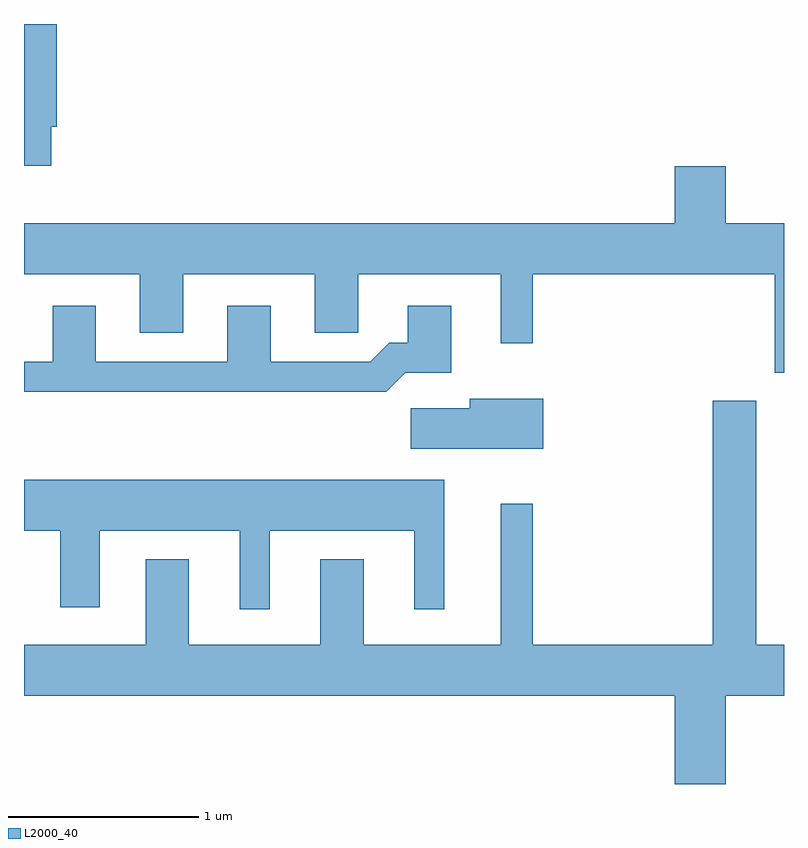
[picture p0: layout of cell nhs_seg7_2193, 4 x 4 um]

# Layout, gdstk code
import gdstk
lib = gdstk.Library(unit=1e-6, precision=1e-09)
def P(c, l, *ps):  # polygons
    for p in ps: c.add(gdstk.Polygon(p, *l))
L2000_40 = (2000, 40)

nhs_seg7_2193 = lib.new_cell('nhs_seg7_2193')
P(nhs_seg7_2193, L2000_40, [(251.754,1761.711),(251.784,1761.711),(251.784,1762.252),(251.611,1762.252),(251.611,1761.506),(251.754,1761.506)],
  [(255.611,1761.204),(255.304,1761.204),(255.304,1761.504),(255.036,1761.504),(255.036,1761.204),(251.611,1761.204),(251.611,1760.936),(252.221,1760.936),(252.221,1760.626),(252.449,1760.626),(252.449,1760.936),(253.141,1760.936),(253.141,1760.626),(253.369,1760.626),(253.369,1760.936),(254.121,1760.936),(254.121,1760.573),(254.289,1760.573),(254.289,1760.936),(255.561,1760.936),(255.561,1760.416),(255.611,1760.416)],
  [(253.617,1760.416),(253.859,1760.416),(253.859,1760.769),(253.631,1760.769),(253.631,1760.574),(253.534,1760.574),(253.434,1760.474),(252.909,1760.474),(252.909,1760.769),(252.681,1760.769),(252.681,1760.474),(251.989,1760.474),(251.989,1760.769),(251.761,1760.769),(251.761,1760.474),(251.611,1760.474),(251.611,1760.316),(253.517,1760.316)],
  [(254.344,1760.279),(253.956,1760.279),(253.956,1760.229),(253.646,1760.229),(253.646,1760.016),(254.344,1760.016)],
  [(255.304,1758.716),(255.611,1758.716),(255.611,1758.984),(255.464,1758.984),(255.464,1760.269),(255.236,1760.269),(255.236,1758.984),(254.289,1758.984),(254.289,1759.728),(254.121,1759.728),(254.121,1758.984),(253.399,1758.984),(253.399,1759.434),(253.171,1759.434),(253.171,1758.984),(252.479,1758.984),(252.479,1759.434),(252.251,1759.434),(252.251,1758.984),(251.611,1758.984),(251.611,1758.716),(255.036,1758.716),(255.036,1758.252),(255.304,1758.252)],
  [(252.904,1759.586),(253.666,1759.586),(253.666,1759.173),(253.824,1759.173),(253.824,1759.854),(251.611,1759.854),(251.611,1759.586),(251.801,1759.586),(251.801,1759.181),(252.009,1759.181),(252.009,1759.586),(252.746,1759.586),(252.746,1759.173),(252.904,1759.173)])

lib.write_gds('nhs_seg7_2193.gds')
